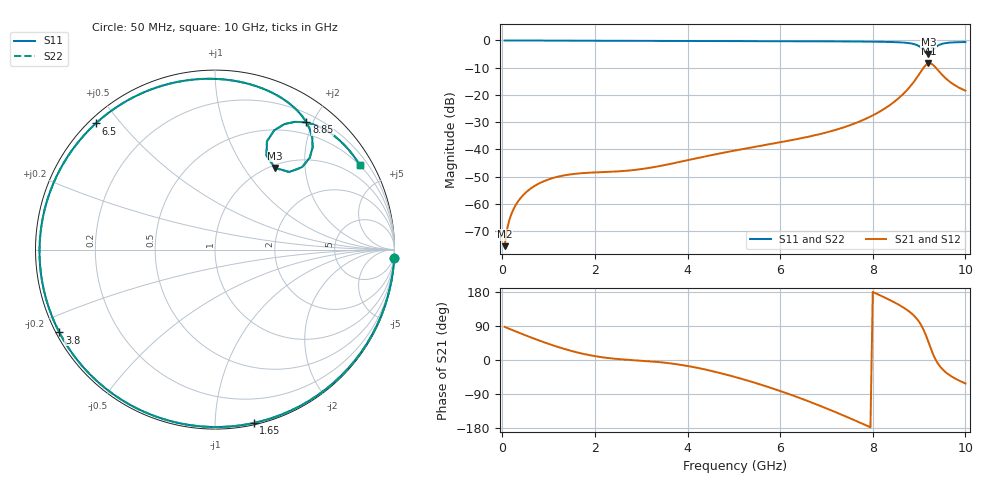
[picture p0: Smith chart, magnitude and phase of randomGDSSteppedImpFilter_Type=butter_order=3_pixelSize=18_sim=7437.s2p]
! freq	dB(S11)	phase(S11)	dB(S12)	phase(S12)
!  dB(S21)	phase(S21)	dB(S22)	phase(S22)
!S-par simulation data
#  GHz  S  DB  R 50
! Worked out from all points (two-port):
!   200 points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, 50 MHz to 10 GHz, reference 50 ohm
!   highest |S21| = -8.40 dB at 9.2 GHz (marker M1); lowest = -75.6 dB at 50 MHz (marker M2)
!   |S21| within 3 dB of the highest: 9.041 GHz to 9.433 GHz (392.1 MHz wide, 4.24 % of centre)
!   lowest |S11| = -5.0 dB at 9.2 GHz (marker M3), VSWR 3.60, Z = 52.5 + j70.2 ohm
!   |S11| at or under -10 dB: nowhere
!   |S22| runs from -5.0 to 0.0 dB; largest |S21 - S12| = 0
!   S11 on the Smith chart (normalised r, x): 50 MHz: 0, -45; 1.65 GHz: 0.01, -1.25; 3.8 GHz: 0.01, -0.25; 6.5 GHz: 0.02, +0.43; 8.85 GHz: 0.32, +1.91; 10 GHz: 0.49, +3.64
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0.05  -0.00 -2.5  -75.56 87.4  -75.56 87.4  -0.00 -2.5
0.1  -0.01 -5.1  -69.56 84.9  -69.56 84.9  -0.01 -5.1
0.2  -0.01 -10.1  -63.60 79.9  -63.60 79.9  -0.01 -10.1
0.5  -0.03 -24.9  -55.97 65.2  -55.97 65.2  -0.03 -24.9
1.1  -0.06 -53.5  -50.49 38.4  -50.49 38.4  -0.06 -53.5
1.65  -0.09 -77.5  -48.85 19.0  -48.85 19.0  -0.09 -77.5
1.75  -0.09 -81.6  -48.71 16.2  -48.71 16.2  -0.09 -81.6
2.5  -0.12 -110.2  -48.09 2.5  -48.09 2.5  -0.12 -110.2
3.4  -0.14 -139.9  -46.12 -5.7  -46.12 -5.7  -0.14 -140.0
3.8  -0.16 -152.0  -44.73 -11.8  -44.73 -11.8  -0.16 -152.0
5.05  -0.21 173.0  -40.35 -45.6  -40.35 -45.6  -0.21 173.0
5.75  -0.24 154.0  -38.18 -71.5  -38.18 -71.5  -0.24 154.0
6.5  -0.29 133.4  -35.76 -103.8  -35.76 -103.8  -0.29 133.4
6.7  -0.30 127.7  -35.02 -113.1  -35.02 -113.1  -0.30 127.7
7.6  -0.38 101.0  -30.55 -158.6  -30.55 -158.6  -0.38 101.0
8.35  -0.55 75.8  -23.97 159.4  -23.97 159.4  -0.55 75.7
8.85  -1.18 54.3  -16.02 121.6  -16.02 121.6  -1.18 54.3
9.05  -2.68 44.1  -11.17 91.1  -11.17 91.1  -2.69 44.0
9.2  -4.96 53.6  -8.40 47.9  -8.40 47.9  -4.97 53.6
9.3  -3.49 64.4  -8.95 15.6  -8.95 15.6  -3.50 64.4
9.45  -1.52 58.0  -11.73 -16.6  -11.73 -16.6  -1.52 58.0
10  -0.59 30.2  -18.43 -61.9  -18.43 -61.9  -0.59 30.2
